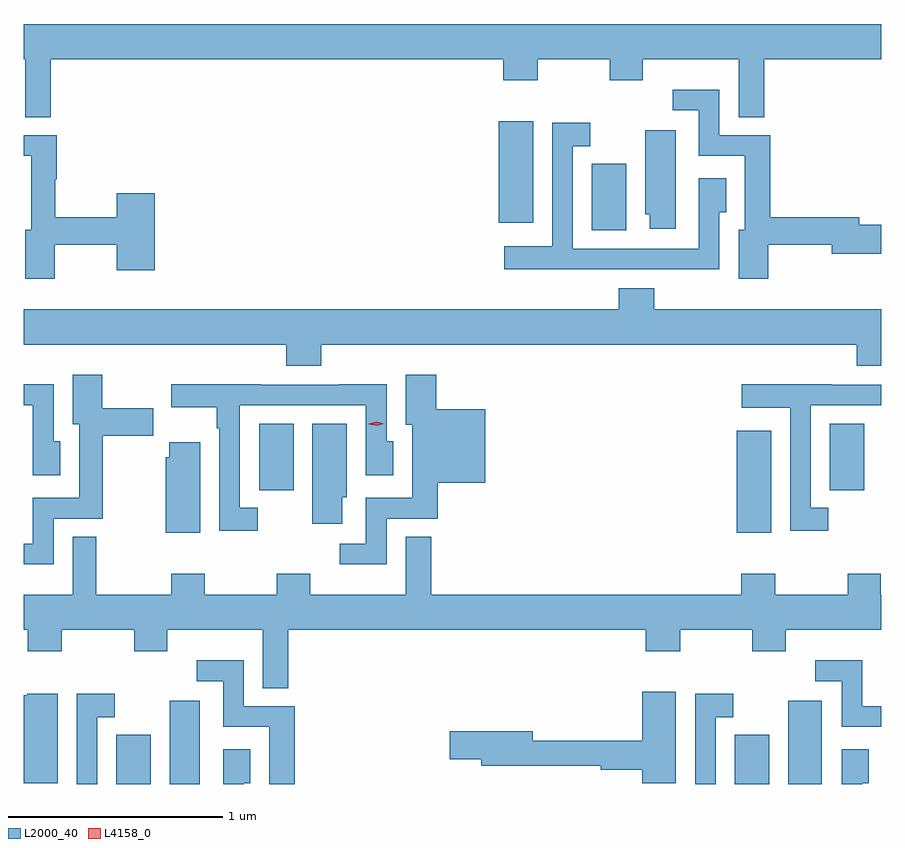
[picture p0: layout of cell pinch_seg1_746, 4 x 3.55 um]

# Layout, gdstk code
import gdstk
lib = gdstk.Library(unit=1e-6, precision=1e-09)
def R(c, l, rs):  # rectangles x0, y0, x1, y1
    for r in rs: c.add(gdstk.rectangle(r[:2], r[2:], *l))
def P(c, l, *ps):  # polygons
    for p in ps: c.add(gdstk.Polygon(p, *l))
L2000_40 = (2000, 40)
L4158_0 = (4158, 0)

pinch_seg1_746 = lib.new_cell('pinch_seg1_746')
R(pinch_seg1_746, L2000_40, [(867.299,529.701,867.46,529.932), (867.548,529.701,867.688,530.089), (870.185,529.701,870.346,529.932), (870.434,529.701,870.592,530.089), (870.194,530.874,870.355,531.349), (867.965,531.072,868.126,531.383), (870.629,531.072,870.79,531.383), (869.519,532.285,869.68,532.596), (869.084,532.32,869.245,532.795)])
P(pinch_seg1_746, L2000_40, [(866.992,533.084),(869.105,533.084),(869.105,532.985),(869.265,532.985),(869.265,533.084),(869.602,533.084),(869.602,532.985),(869.757,532.985),(869.757,533.084),(870.203,533.084),(870.203,532.813),(870.322,532.813),(870.322,533.084),(870.868,533.084),(870.868,533.248),(866.868,533.248),(866.868,533.084),(866.873,533.084),(866.873,532.813),(866.992,532.813)],
  [(870.342,532.218),(870.638,532.218),(870.638,532.175),(870.868,532.175),(870.868,532.31),(870.766,532.31),(870.766,532.346),(870.352,532.346),(870.352,532.728),(870.114,532.728),(870.114,532.942),(869.895,532.942),(869.895,532.845),(870.018,532.845),(870.018,532.632),(870.233,532.632),(870.233,532.287),(870.203,532.287),(870.203,532.059),(870.342,532.059)],
  [(869.527,532.104),(869.893,532.104),(869.893,532.103),(870.114,532.103),(870.114,532.369),(870.145,532.369),(870.145,532.528),(870.018,532.528),(870.018,532.2),(869.43,532.2),(869.43,532.677),(869.512,532.677),(869.512,532.786),(869.334,532.786),(869.334,532.21),(869.109,532.21),(869.109,532.103),(869.527,532.103)],
  [(869.911,532.753),(869.768,532.753),(869.768,532.359),(869.789,532.359),(869.789,532.293),(869.911,532.293)],
  [(867.012,532.218),(867.301,532.218),(867.301,532.098),(867.479,532.098),(867.479,532.459),(867.301,532.459),(867.301,532.346),(867.014,532.346),(867.014,532.524),(867.022,532.524),(867.022,532.728),(866.868,532.728),(866.868,532.632),(866.903,532.632),(866.903,532.287),(866.873,532.287),(866.873,532.059),(867.012,532.059)],
  [(868.256,531.752),(870.755,531.752),(870.755,531.653),(870.868,531.653),(870.868,531.916),(869.81,531.916),(869.81,532.015),(869.645,532.015),(869.645,531.916),(866.868,531.916),(866.868,531.752),(868.091,531.752),(868.091,531.653),(868.256,531.653)],
  [(867.006,530.94),(867.236,530.94),(867.236,531.326),(867.471,531.326),(867.471,531.454),(867.234,531.454),(867.234,531.61),(867.095,531.61),(867.095,531.381),(867.125,531.381),(867.125,531.036),(866.91,531.036),(866.91,530.823),(866.868,530.823),(866.868,530.726),(867.006,530.726)],
  [(868.56,530.94),(868.798,530.94),(868.798,531.107),(869.02,531.107),(869.02,531.451),(868.793,531.451),(868.793,531.61),(868.649,531.61),(868.649,531.377),(868.679,531.377),(868.679,531.036),(868.464,531.036),(868.464,530.823),(868.341,530.823),(868.341,530.726),(868.56,530.726)],
  [(870.622,530.991),(870.54,530.991),(870.54,531.468),(870.868,531.468),(870.868,531.564),(870.637,531.564),(870.637,531.566),(870.219,531.566),(870.219,531.458),(870.444,531.458),(870.444,530.883),(870.622,530.883)],
  [(867.037,531.3),(867.006,531.3),(867.006,531.566),(866.868,531.566),(866.868,531.468),(866.91,531.468),(866.91,531.141),(867.037,531.141)],
  [(867.958,530.991),(867.876,530.991),(867.876,531.468),(868.464,531.468),(868.464,531.141),(868.591,531.141),(868.591,531.3),(868.56,531.3),(868.56,531.566),(868.339,531.566),(868.339,531.564),(867.973,531.564),(867.973,531.566),(867.555,531.566),(867.555,531.46),(867.768,531.46),(867.768,531.362),(867.78,531.362),(867.78,530.883),(867.958,530.883)],
  [(868.354,531.039),(868.375,531.039),(868.375,531.383),(868.214,531.383),(868.214,530.916),(868.354,530.916)],
  [(867.691,531.297),(867.546,531.297),(867.546,531.225),(867.53,531.225),(867.53,530.874),(867.691,530.874)],
  [(868.102,530.42),(869.771,530.42),(869.771,530.321),(869.931,530.321),(869.931,530.42),(870.268,530.42),(870.268,530.321),(870.423,530.321),(870.423,530.42),(870.868,530.42),(870.868,530.584),(870.867,530.584),(870.867,530.683),(870.712,530.683),(870.712,530.584),(870.375,530.584),(870.375,530.683),(870.215,530.683),(870.215,530.584),(868.768,530.584),(868.768,530.855),(868.649,530.855),(868.649,530.584),(868.203,530.584),(868.203,530.683),(868.048,530.683),(868.048,530.584),(867.711,530.584),(867.711,530.683),(867.556,530.683),(867.556,530.584),(867.206,530.584),(867.206,530.855),(867.095,530.855),(867.095,530.584),(866.868,530.584),(866.868,530.42),(866.885,530.42),(866.885,530.321),(867.045,530.321),(867.045,530.42),(867.382,530.42),(867.382,530.321),(867.537,530.321),(867.537,530.42),(867.983,530.42),(867.983,530.149),(868.102,530.149)],
  [(870.868,530.064),(870.78,530.064),(870.78,530.278),(870.561,530.278),(870.561,530.181),(870.684,530.181),(870.684,529.968),(870.868,529.968)],
  [(868.132,530.064),(867.894,530.064),(867.894,530.278),(867.675,530.278),(867.675,530.181),(867.798,530.181),(867.798,529.968),(868.013,529.968),(868.013,529.701),(868.132,529.701)],
  [(869.911,530.131),(869.753,530.131),(869.753,529.904),(869.242,529.904),(869.242,529.947),(868.854,529.947),(868.854,529.817),(869.003,529.817),(869.003,529.787),(869.56,529.787),(869.56,529.768),(869.753,529.768),(869.753,529.704),(869.911,529.704)],
  [(867.21,530.013),(867.292,530.013),(867.292,530.122),(867.114,530.122),(867.114,529.701),(867.21,529.701)],
  [(870.096,530.013),(870.178,530.013),(870.178,530.122),(870,530.122),(870,529.701),(870.096,529.701)],
  [(867.025,530.122),(866.883,530.122),(866.883,530.115),(866.868,530.115),(866.868,529.704),(867.025,529.704)],
  [(870.78,529.705),(870.811,529.705),(870.811,529.864),(870.684,529.864),(870.684,529.701),(870.78,529.701)],
  [(867.894,529.705),(867.925,529.705),(867.925,529.864),(867.798,529.864),(867.798,529.701),(867.894,529.701)])
P(pinch_seg1_746, L4158_0, [(868.514,531.372),(868.478,531.381),(868.478,531.382),(868.478,531.382),(868.514,531.392),(868.55,531.383),(868.55,531.383),(868.55,531.383)])

lib.write_gds('pinch_seg1_746.gds')
